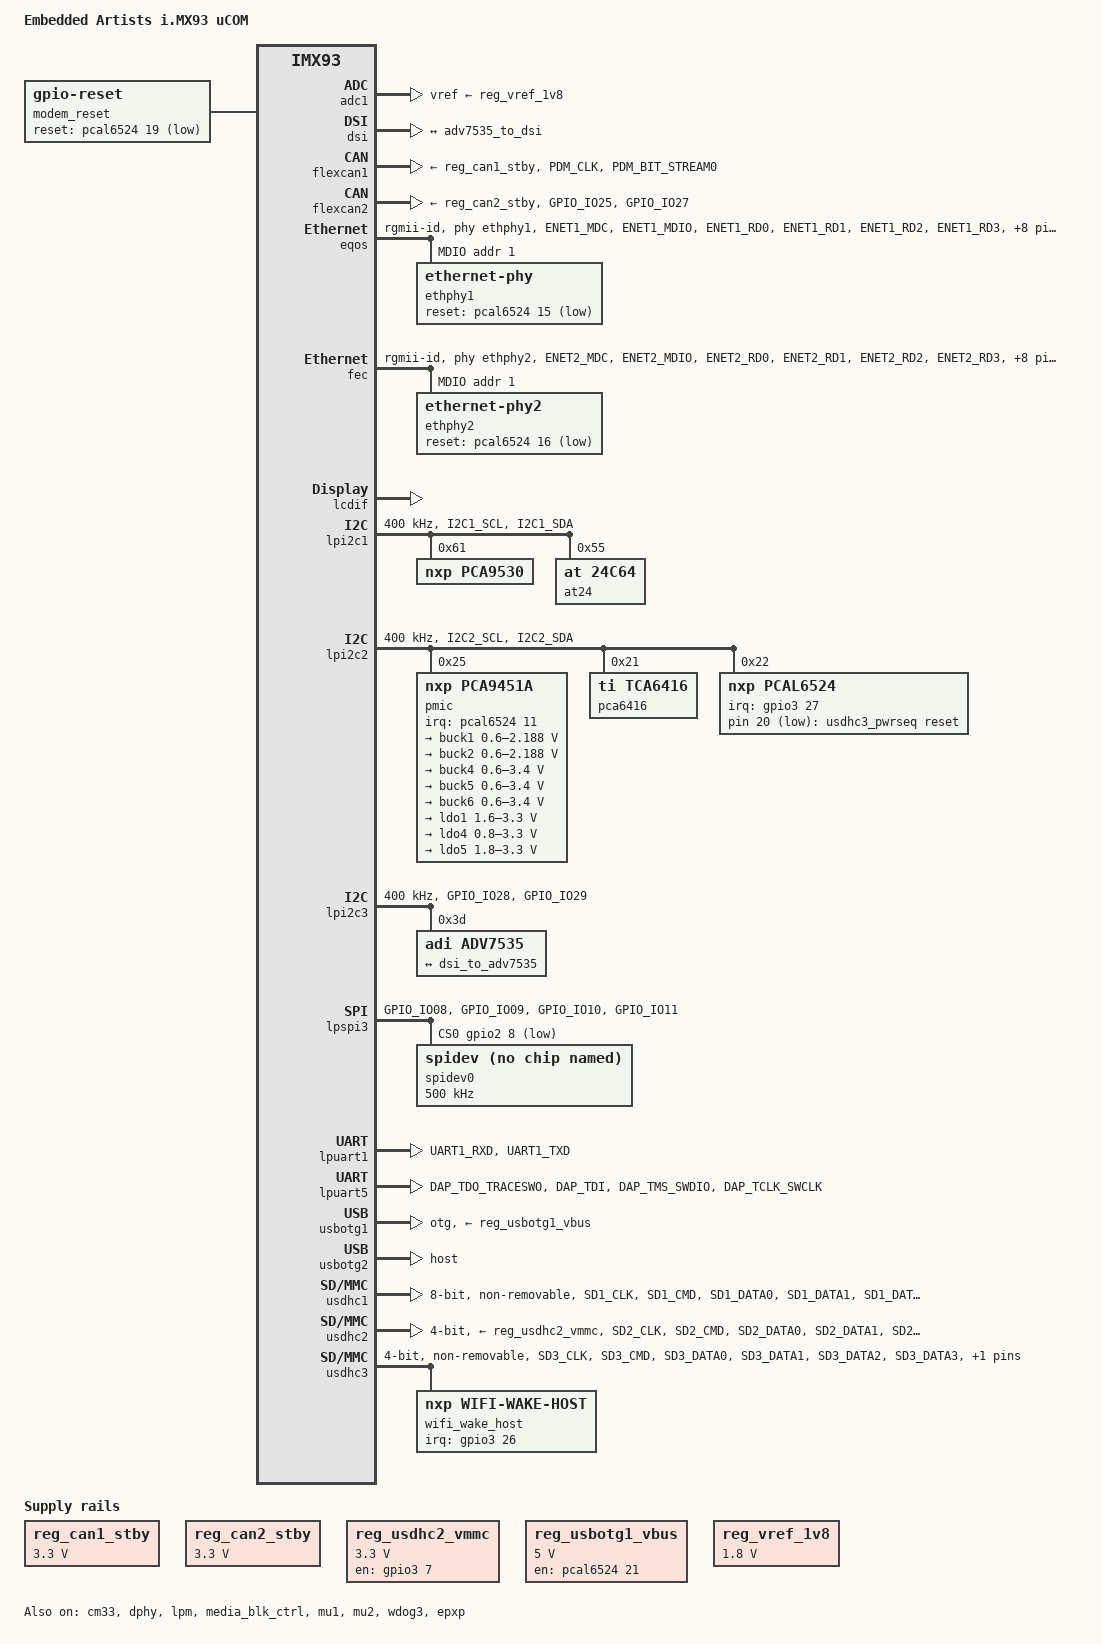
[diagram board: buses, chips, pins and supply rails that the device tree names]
// SPDX-License-Identifier: (GPL-2.0+ OR MIT)
/*
 * Copyright 2022 NXP
 */

/dts-v1/;

#include <dt-bindings/leds/leds-pca9532.h>
#include <dt-bindings/usb/pd.h>
#include "imx93.dtsi"

&ele_fw2 {
	memory-region = <&ele_reserved>;
};


/ {
	model = "Embedded Artists i.MX93 uCOM";
	compatible = "fsl,imx93ea-ucom", "fsl,imx93";

	chosen {
		stdout-path = &lpuart1;
	};

	reserved-memory {
		#address-cells = <2>;
		#size-cells = <2>;
		ranges;

		linux,cma {
			compatible = "shared-dma-pool";
			reusable;
			alloc-ranges = <0 0x80000000 0 0x40000000>;
			size = <0 0x10000000>;
			linux,cma-default;
		};

		ethosu_mem: ethosu_region@88000000 {
			compatible = "shared-dma-pool";
			reusable;
			reg = <0x0 0x88000000 0x0 0x8000000>;
		};

		vdev0vring0: vdev0vring0@87ee0000 {
			reg = <0 0x87ee0000 0 0x8000>;
			no-map;
		};

		vdev0vring1: vdev0vring1@87ee8000 {
			reg = <0 0x87ee8000 0 0x8000>;
			no-map;
		};

		vdev1vring0: vdev1vring0@87ef0000 {
			reg = <0 0x87ef0000 0 0x8000>;
			no-map;
		};

		vdev1vring1: vdev1vring1@87ef8000 {
			reg = <0 0x87ef8000 0 0x8000>;
			no-map;
		};

		rsc_table: rsc-table@2021e000 {
			reg = <0 0x2021e000 0 0x1000>;
			no-map;
		};

		vdevbuffer: vdevbuffer@87f00000 {
			compatible = "shared-dma-pool";
			reg = <0 0x87f00000 0 0x100000>;
			no-map;
		};

		ele_reserved: ele-reserved@a4120000 {
			compatible = "shared-dma-pool";
			reg = <0 0xa4120000 0 0x100000>;
			no-map;
		};
	};

	ethosu {
		compatible = "arm,ethosu";
		fsl,cm33-proc = <&cm33>;
		memory-region = <&ethosu_mem>;
		power-domains = <&mlmix>;
	};

	modem_reset: modem-reset {
		compatible = "gpio-reset";
		reset-gpios = <&pcal6524 19 GPIO_ACTIVE_LOW>;
		initially-in-reset;
		reset-delay-us = <2000>;
		reset-post-delay-ms = <100>;
		#reset-cells = <0>;
	};

	reg_can1_stby: regulator-can1-stby {
		compatible = "regulator-fixed";
		regulator-name = "can1-stby";
		regulator-min-microvolt = <3300000>;
		regulator-max-microvolt = <3300000>;
		enable-active-low;
	};

	reg_can2_stby: regulator-can2-stby {
		compatible = "regulator-fixed";
		regulator-name = "can2-stby";
		regulator-min-microvolt = <3300000>;
		regulator-max-microvolt = <3300000>;
		enable-active-low;
	};

	reg_usdhc2_vmmc: regulator-usdhc2 {
		compatible = "regulator-fixed";
		pinctrl-names = "default";
		pinctrl-0 = <&pinctrl_reg_usdhc2_vmmc>;
		regulator-name = "VSD_3V3";
		regulator-min-microvolt = <3300000>;
		regulator-max-microvolt = <3300000>;
		gpio = <&gpio3 7 GPIO_ACTIVE_HIGH>;
		off-on-delay-us = <12000>;
		enable-active-high;
	};

	reg_usbotg1_vbus: regulator-usbotg1 {
		compatible = "regulator-fixed";
		regulator-name = "usbotg_vbus";
		regulator-min-microvolt = <5000000>;
		regulator-max-microvolt = <5000000>;
		gpio = <&pcal6524 21 GPIO_ACTIVE_HIGH>;
		off-on-delay = <20000>;
		enable-active-high;
	};

	reg_vref_1v8: regulator-adc-vref {
		compatible = "regulator-fixed";
		regulator-name = "vref_1v8";
		regulator-min-microvolt = <1800000>;
		regulator-max-microvolt = <1800000>;
	};

	usdhc3_pwrseq: usdhc3_pwrseq {
		compatible = "mmc-pwrseq-simple";
		reset-gpios = <&pcal6524 20 GPIO_ACTIVE_LOW>;
	};

};

	
&adc1 {
	vref-supply = <&reg_vref_1v8>;
	status = "okay";
};

&cm33 {
    mbox-names = "tx", "rx", "rxdb";
    mboxes = <&mu1 0 1>,
        <&mu1 1 1>,
        <&mu1 3 1>;
        memory-region = <&vdevbuffer>, <&vdev0vring0>, <&vdev0vring1>,
            <&vdev1vring0>, <&vdev1vring1>, <&rsc_table>;
        fsl,startup-delay-ms = <500>;
    status = "okay";
};

&dphy {
	status = "okay";
};

&dsi {
	status = "okay";

	ports {
		port@1 {
			reg = <1>;

			dsi_to_adv7535: endpoint {
				remote-endpoint = <&adv7535_to_dsi>;
			};
		};
	};
};

&flexcan1 {
	pinctrl-names = "default";
	pinctrl-0 = <&pinctrl_flexcan1>;
	xceiver-supply = <&reg_can1_stby>;
	status = "okay";
};

&flexcan2 {
	pinctrl-names = "default";
	pinctrl-0 = <&pinctrl_flexcan2>;
	xceiver-supply = <&reg_can2_stby>;
	status = "okay";
};

/* Using connector J25 on uCOM Carrier Board */
&eqos {
	pinctrl-names = "default", "sleep";
	pinctrl-0 = <&pinctrl_eqos>;
	pinctrl-1 = <&pinctrl_eqos_sleep>;
	phy-mode = "rgmii-id";
	phy-handle = <&ethphy1>;
	status = "okay";

	mdio {
		compatible = "snps,dwmac-mdio";
		#address-cells = <1>;
		#size-cells = <0>;
		clock-frequency = <5000000>;

		ethphy1: ethernet-phy@1 {
			reg = <1>;
			eee-broken-1000t;           
			reset-gpios = <&pcal6524 15 GPIO_ACTIVE_LOW>;
			reset-assert-us = <10000>;
			reset-deassert-us = <80000>;
			realtek,clkout-disable;
		};
	};
};

/* Using 1Gbit adapter in connector E on uCOM Carrier Board */
&fec {
	pinctrl-names = "default", "sleep";
	pinctrl-0 = <&pinctrl_fec>;
	pinctrl-1 = <&pinctrl_fec_sleep>;
	phy-mode = "rgmii-id";
	phy-handle = <&ethphy2>;
	fsl,magic-packet;
	status = "okay";

	mdio {
		#address-cells = <1>;
		#size-cells = <0>;
		clock-frequency = <5000000>;

		ethphy2: ethernet-phy2@1 {
			reg = <1>;
			eee-broken-1000t;
			reset-gpios = <&pcal6524 16 GPIO_ACTIVE_LOW>;
			reset-assert-us = <10000>;
			reset-deassert-us = <80000>;
			realtek,clkout-disable;
		};
	};
};

&lcdif {
	status = "okay";
	assigned-clock-rates = <445333333>, <148444444>, <400000000>, <133333333>;
};

&lpm {
	soc-supply = <&buck1>;
	status = "okay";
};

&lpi2c1 {
	#address-cells = <1>;
	#size-cells = <0>;
	clock-frequency = <400000>;
	pinctrl-names = "default", "sleep";
	pinctrl-0 = <&pinctrl_lpi2c1>;
	pinctrl-1 = <&pinctrl_lpi2c1>;
	status = "okay";

	pca9530: pca9530@61 {
		compatible = "nxp,pca9530";
		reg = <0x61>;

		led0 {
			label = "PCA_PWM0";
			type = <PCA9532_TYPE_LED>;
		};

		led1 {
			label = "PCA_PWM1_LED17";
			type = <PCA9532_TYPE_LED>;
		};
	};

	at24@55 {
		compatible = "at,24c64";
		pagesize = <32>;
		reg = <0x55>;
	};
};

&lpi2c2 {
	#address-cells = <1>;
	#size-cells = <0>;
	clock-frequency = <400000>;
	pinctrl-names = "default", "sleep";
	pinctrl-0 = <&pinctrl_lpi2c2>;
	pinctrl-1 = <&pinctrl_lpi2c2>;
	status = "okay";

	pmic@25 {
		compatible = "nxp,pca9451a";
		reg = <0x25>;
		interrupt-parent = <&pcal6524>;
		interrupts = <11 IRQ_TYPE_LEVEL_LOW>;

		regulators {
			buck1: BUCK1 {
				regulator-name = "BUCK1";
				regulator-min-microvolt = <600000>;
				regulator-max-microvolt = <2187500>;
				regulator-boot-on;
				regulator-always-on;
				regulator-ramp-delay = <3125>;
			};

			buck2: BUCK2 {
				regulator-name = "BUCK2";
				regulator-min-microvolt = <600000>;
				regulator-max-microvolt = <2187500>;
				regulator-boot-on;
				regulator-always-on;
				regulator-ramp-delay = <3125>;
			};

			buck4: BUCK4{
				regulator-name = "BUCK4";
				regulator-min-microvolt = <600000>;
				regulator-max-microvolt = <3400000>;
				regulator-boot-on;
				regulator-always-on;
			};

			buck5: BUCK5{
				regulator-name = "BUCK5";
				regulator-min-microvolt = <600000>;
				regulator-max-microvolt = <3400000>;
				regulator-boot-on;
				regulator-always-on;
			};

			buck6: BUCK6 {
				regulator-name = "BUCK6";
				regulator-min-microvolt = <600000>;
				regulator-max-microvolt = <3400000>;
				regulator-boot-on;
				regulator-always-on;
			};

			ldo1: LDO1 {
				regulator-name = "LDO1";
				regulator-min-microvolt = <1600000>;
				regulator-max-microvolt = <3300000>;
				regulator-boot-on;
				regulator-always-on;
			};

			ldo4: LDO4 {
				regulator-name = "LDO4";
				regulator-min-microvolt = <800000>;
				regulator-max-microvolt = <3300000>;
				regulator-boot-on;
				regulator-always-on;
			};

			ldo5: LDO5 {
				regulator-name = "LDO5";
				regulator-min-microvolt = <1800000>;
				regulator-max-microvolt = <3300000>;
				regulator-boot-on;
				regulator-always-on;
			};
		};
	};

	pca6416: gpio@21 {
		compatible = "ti,tca6416";
		reg = <0x21>;
		gpio-controller;
		#gpio-cells = <2>;
		gpio-line-names = "BT_REG_ON", "WL_REG_ON", "DISP_MIPI_RST",
			"BT_DEV_WAKE", "USER_RGB_LED_RED", "USER_RGB_LED_BLUE",
			"USER_RGB_LED_GREEN", "PCIE_PERST_L", "M2_B_DISABLE",
			"M2_B_PWR_OFF", "LCD_BL_PWR", "M2_SDIO_RST",
			"SE050_ENA", "USER_BTN", "USER_LED_RED", "USER_LED_GREEN";
	};

	pcal6524: gpio@22 {
		compatible = "nxp,pcal6524";
		pinctrl-names = "default";
		pinctrl-0 = <&pinctrl_pcal6524>;
		reg = <0x22>;
		gpio-controller;
		#gpio-cells = <2>;
		interrupt-controller;
		#interrupt-cells = <2>;
		interrupt-parent = <&gpio3>;
		interrupts = <27 IRQ_TYPE_LEVEL_LOW>;
	};
};

&lpi2c3 {
	#address-cells = <1>;
	#size-cells = <0>;
	clock-frequency = <400000>;
	pinctrl-names = "default", "sleep";
	pinctrl-0 = <&pinctrl_lpi2c3>;
	pinctrl-1 = <&pinctrl_lpi2c3>;
	status = "okay";

	adv7535: hdmi@3d {
		compatible = "adi,adv7535";
		reg = <0x3d>;
		adi,addr-cec = <0x3b>;
		adi,dsi-lanes = <4>;
		status = "okay";

		port {
			adv7535_to_dsi: endpoint {
				remote-endpoint = <&dsi_to_adv7535>;
			};
		};
	};
};

&lpspi3 {
	fsl,spi-num-chipselects = <1>;
	pinctrl-names = "default", "sleep";
	pinctrl-0 = <&pinctrl_lpspi3>;
	pinctrl-1 = <&pinctrl_lpspi3>;
	cs-gpios = <&gpio2 8 GPIO_ACTIVE_LOW>;
	status = "okay";

	spidev0: spi@0 {
		reg = <0>;
		compatible = "rohm,dh2228fv";
		spi-max-frequency = <500000>;
	};
};

&lpuart1 { /* console */
	pinctrl-names = "default";
	pinctrl-0 = <&pinctrl_uart1>;
	status = "okay";
};

&lpuart5 {
	/* BT */
	pinctrl-names = "default";
	pinctrl-0 = <&pinctrl_uart5>;
	status = "okay";

	/delete-property/ dmas;
	/delete-property/ dma-names;

	resets = <&modem_reset>;
	fsl,uart-has-rtscts;
};

&media_blk_ctrl {
	status = "okay";
};

&mu1 {
	status = "okay";
};

&mu2 {
	status = "okay";
};

&usbotg1 {
	dr_mode = "otg";
	disable-over-current;
	samsung,picophy-pre-emp-curr-control = <3>;
	samsung,picophy-dc-vol-level-adjust = <7>;
	status = "okay";

	vbus-supply = <&reg_usbotg1_vbus>;
};

&usbotg2 {
	dr_mode = "host";
	samsung,picophy-pre-emp-curr-control = <3>;
	samsung,picophy-dc-vol-level-adjust = <7>;
	status = "okay";
};

/* eMMC */
&usdhc1 {
	pinctrl-names = "default", "state_100mhz", "state_200mhz";
	pinctrl-0 = <&pinctrl_usdhc1>;
	pinctrl-1 = <&pinctrl_usdhc1>;
	pinctrl-2 = <&pinctrl_usdhc1>;
	bus-width = <8>;
	non-removable;
	status = "okay";
};

/* uSD connector on carrier board */
&usdhc2 {
	pinctrl-names = "default", "state_100mhz", "state_200mhz";
	pinctrl-0 = <&pinctrl_usdhc2>, <&pinctrl_usdhc2_gpio>;
	pinctrl-1 = <&pinctrl_usdhc2>, <&pinctrl_usdhc2_gpio>;
	pinctrl-2 = <&pinctrl_usdhc2>, <&pinctrl_usdhc2_gpio>;
	cd-gpios = <&gpio3 00 GPIO_ACTIVE_LOW>;
	vmmc-supply = <&reg_usdhc2_vmmc>;
	bus-width = <4>;
	status = "okay";
	no-sdio;
	no-mmc;
};

&usdhc3 {
	pinctrl-names = "default", "state_100mhz", "state_200mhz";
	pinctrl-0 = <&pinctrl_usdhc3>, <&pinctrl_usdhc3_wlan>;
	pinctrl-1 = <&pinctrl_usdhc3>, <&pinctrl_usdhc3_wlan>;
	pinctrl-2 = <&pinctrl_usdhc3>, <&pinctrl_usdhc3_wlan>;
	mmc-pwrseq = <&usdhc3_pwrseq>;
	/*pinctrl-assert-gpios = <&pcal6524 13 GPIO_ACTIVE_HIGH>;*/
	bus-width = <4>;
	keep-power-in-suspend;
	non-removable;
	wakeup-source;
	fsl,sdio-async-interrupt-enabled;
	status = "okay";

	wifi_wake_host {
		compatible = "nxp,wifi-wake-host";
		interrupt-parent = <&gpio3>;
		interrupts = <26 IRQ_TYPE_LEVEL_LOW>;
		interrupt-names = "host-wake";
	};
};

&wdog3 {
	status = "okay";
};

&iomuxc {
	pinctrl_lpi2c1: lpi2c1grp {
		fsl,pins = <
			MX93_PAD_I2C1_SCL__LPI2C1_SCL			0x40000b9e
			MX93_PAD_I2C1_SDA__LPI2C1_SDA			0x40000b9e
		>;
	};

	pinctrl_lpi2c2: lpi2c2grp {
		fsl,pins = <
			MX93_PAD_I2C2_SCL__LPI2C2_SCL			0x40000b9e
			MX93_PAD_I2C2_SDA__LPI2C2_SDA			0x40000b9e
		>;
	};

	pinctrl_lpi2c3: lpi2c3grp {
		fsl,pins = <
			MX93_PAD_GPIO_IO28__LPI2C3_SDA			0x40000b9e
			MX93_PAD_GPIO_IO29__LPI2C3_SCL			0x40000b9e
		>;
	};

	pinctrl_lpspi3: lpspi3grp {
		fsl,pins = <
			MX93_PAD_GPIO_IO08__GPIO2_IO08		0x3fe
			MX93_PAD_GPIO_IO09__LPSPI3_SIN		0x3fe
			MX93_PAD_GPIO_IO10__LPSPI3_SOUT		0x3fe
			MX93_PAD_GPIO_IO11__LPSPI3_SCK		0x3fe
		>;
	};

	pinctrl_pcal6524: pcal6524grp {
		fsl,pins = <
			MX93_PAD_CCM_CLKO2__GPIO3_IO27			0x31e     /* PullUp enabled */
		>;
	};

	pinctrl_flexcan1: flexcan1grp {
		fsl,pins = <
			MX93_PAD_PDM_CLK__CAN1_TX		0x139e
			MX93_PAD_PDM_BIT_STREAM0__CAN1_RX	0x139e
		>;
	};

	pinctrl_flexcan2: flexcan2grp {
		fsl,pins = <
			MX93_PAD_GPIO_IO25__CAN2_TX	0x139e
			MX93_PAD_GPIO_IO27__CAN2_RX	0x139e
		>;
	};

	pinctrl_eqos: eqosgrp {
		fsl,pins = <
			MX93_PAD_ENET1_MDC__ENET_QOS_MDC			0x48e  /* 0x48e = PD,Slightly Slow Slew Rate,DSE x3 */
			MX93_PAD_ENET1_MDIO__ENET_QOS_MDIO			0x48e
			MX93_PAD_ENET1_RD0__ENET_QOS_RGMII_RD0			0x48e
			MX93_PAD_ENET1_RD1__ENET_QOS_RGMII_RD1			0x48e
			MX93_PAD_ENET1_RD2__ENET_QOS_RGMII_RD2			0x48e
			MX93_PAD_ENET1_RD3__ENET_QOS_RGMII_RD3			0x48e
			MX93_PAD_ENET1_RXC__CCM_ENET_QOS_CLOCK_GENERATE_RX_CLK	0x49e  /* 0x49e = PD,Slightly Slow Slew Rate,DSE x4 */
			MX93_PAD_ENET1_RX_CTL__ENET_QOS_RGMII_RX_CTL		0x48e
			MX93_PAD_ENET1_TD0__ENET_QOS_RGMII_TD0			0x48e
			MX93_PAD_ENET1_TD1__ENET_QOS_RGMII_TD1			0x48e
			MX93_PAD_ENET1_TD2__ENET_QOS_RGMII_TD2			0x48e
			MX93_PAD_ENET1_TD3__ENET_QOS_RGMII_TD3			0x48e
			MX93_PAD_ENET1_TXC__CCM_ENET_QOS_CLOCK_GENERATE_TX_CLK	0x49e
			MX93_PAD_ENET1_TX_CTL__ENET_QOS_RGMII_TX_CTL		0x48e
		>;
	};

	pinctrl_eqos_sleep: eqosgrpsleep {
		fsl,pins = <
			MX93_PAD_ENET1_MDC__GPIO4_IO00				0x31e  /* 0x31e = PU,Slightly Fast Slew Rate,DSE x4 */
			MX93_PAD_ENET1_MDIO__GPIO4_IO01				0x31e
			MX93_PAD_ENET1_RD0__GPIO4_IO10                          0x31e
			MX93_PAD_ENET1_RD1__GPIO4_IO11				0x31e
			MX93_PAD_ENET1_RD2__GPIO4_IO12				0x31e
			MX93_PAD_ENET1_RD3__GPIO4_IO13				0x31e
			MX93_PAD_ENET1_RXC__GPIO4_IO09                          0x31e
			MX93_PAD_ENET1_RX_CTL__GPIO4_IO08			0x31e
			MX93_PAD_ENET1_TD0__GPIO4_IO05                          0x31e
			MX93_PAD_ENET1_TD1__GPIO4_IO04                          0x31e
			MX93_PAD_ENET1_TD2__GPIO4_IO03				0x31e
			MX93_PAD_ENET1_TD3__GPIO4_IO02				0x31e
			MX93_PAD_ENET1_TXC__GPIO4_IO07                          0x31e
			MX93_PAD_ENET1_TX_CTL__GPIO4_IO06                       0x31e
		>;
	};

	pinctrl_fec: fecgrp {
		fsl,pins = <
			MX93_PAD_ENET2_MDC__ENET1_MDC			0x48e  /* 0x48e = PD,Slightly Slow Slew Rate,DSE x3 */
			MX93_PAD_ENET2_MDIO__ENET1_MDIO			0x48e
			MX93_PAD_ENET2_RD0__ENET1_RGMII_RD0		0x48e
			MX93_PAD_ENET2_RD1__ENET1_RGMII_RD1		0x48e
			MX93_PAD_ENET2_RD2__ENET1_RGMII_RD2		0x48e
			MX93_PAD_ENET2_RD3__ENET1_RGMII_RD3		0x48e
			MX93_PAD_ENET2_RXC__ENET1_RGMII_RXC		0x49e  /* 0x49e = PD,Slightly Slow Slew Rate,DSE x4 */
			MX93_PAD_ENET2_RX_CTL__ENET1_RGMII_RX_CTL	0x48e
			MX93_PAD_ENET2_TD0__ENET1_RGMII_TD0		0x48e
			MX93_PAD_ENET2_TD1__ENET1_RGMII_TD1		0x48e
			MX93_PAD_ENET2_TD2__ENET1_RGMII_TD2		0x48e
			MX93_PAD_ENET2_TD3__ENET1_RGMII_TD3		0x48e
			MX93_PAD_ENET2_TXC__ENET1_RGMII_TXC		0x49e
			MX93_PAD_ENET2_TX_CTL__ENET1_RGMII_TX_CTL	0x48e
		>;
	};

	pinctrl_fec_sleep: fecsleepgrp {
		fsl,pins = <
			MX93_PAD_ENET2_MDC__GPIO4_IO14			0x51e  /* 0x51e = PD,Slightly Fast Slew Rate,DSE x4 */
			MX93_PAD_ENET2_MDIO__GPIO4_IO15			0x51e
			MX93_PAD_ENET2_RD0__GPIO4_IO24			0x51e
			MX93_PAD_ENET2_RD1__GPIO4_IO25			0x51e
			MX93_PAD_ENET2_RD2__GPIO4_IO26			0x51e
			MX93_PAD_ENET2_RD3__GPIO4_IO27			0x51e
			MX93_PAD_ENET2_RXC__GPIO4_IO23                  0x51e
			MX93_PAD_ENET2_RX_CTL__GPIO4_IO22		0x51e
			MX93_PAD_ENET2_TD0__GPIO4_IO19			0x51e
			MX93_PAD_ENET2_TD1__GPIO4_IO18			0x51e
			MX93_PAD_ENET2_TD2__GPIO4_IO17			0x51e
			MX93_PAD_ENET2_TD3__GPIO4_IO16			0x51e
			MX93_PAD_ENET2_TXC__GPIO4_IO21                  0x51e
			MX93_PAD_ENET2_TX_CTL__GPIO4_IO20               0x51e
		>;
	};

	pinctrl_uart1: uart1grp {
		fsl,pins = <
			MX93_PAD_UART1_RXD__LPUART1_RX			0x31e
			MX93_PAD_UART1_TXD__LPUART1_TX			0x31e
		>;
	};

	pinctrl_uart5: uart5grp {
		fsl,pins = <
			MX93_PAD_DAP_TDO_TRACESWO__LPUART5_TX	0x31e
			MX93_PAD_DAP_TDI__LPUART5_RX		0x31e
			MX93_PAD_DAP_TMS_SWDIO__LPUART5_RTS_B	0x31e
			MX93_PAD_DAP_TCLK_SWCLK__LPUART5_CTS_B	0x31e
		>;
	};

	pinctrl_usdhc1: usdhc1grp {
		fsl,pins = <
			MX93_PAD_SD1_CLK__USDHC1_CLK		0x15be
			MX93_PAD_SD1_CMD__USDHC1_CMD		0x13fe
			MX93_PAD_SD1_DATA0__USDHC1_DATA0	0x13fe
			MX93_PAD_SD1_DATA1__USDHC1_DATA1	0x13fe
			MX93_PAD_SD1_DATA2__USDHC1_DATA2	0x13fe
			MX93_PAD_SD1_DATA3__USDHC1_DATA3	0x13fe
			MX93_PAD_SD1_DATA4__USDHC1_DATA4	0x13fe
			MX93_PAD_SD1_DATA5__USDHC1_DATA5	0x13fe
			MX93_PAD_SD1_DATA6__USDHC1_DATA6	0x13fe
			MX93_PAD_SD1_DATA7__USDHC1_DATA7	0x13fe
			MX93_PAD_SD1_STROBE__USDHC1_STROBE	0x15fe
		>;
	};

	pinctrl_reg_usdhc2_vmmc: regusdhc2vmmcgrp {
		fsl,pins = <
			MX93_PAD_SD2_RESET_B__GPIO3_IO07	0x31e
		>;
	};

	pinctrl_usdhc2_gpio: usdhc2gpiogrp {
		fsl,pins = <
			MX93_PAD_SD2_CD_B__GPIO3_IO00		0x31e
		>;
	};

	pinctrl_usdhc2: usdhc2grp {
		fsl,pins = <
			MX93_PAD_SD2_CLK__USDHC2_CLK		0x15fe
			MX93_PAD_SD2_CMD__USDHC2_CMD		0x13fe
			MX93_PAD_SD2_DATA0__USDHC2_DATA0	0x13fe
			MX93_PAD_SD2_DATA1__USDHC2_DATA1	0x13fe
			MX93_PAD_SD2_DATA2__USDHC2_DATA2	0x13fe
			MX93_PAD_SD2_DATA3__USDHC2_DATA3	0x13fe
			MX93_PAD_SD2_VSELECT__USDHC2_VSELECT	0x51e
		>;
	};

	pinctrl_usdhc3: usdhc3grp {
		fsl,pins = <
			MX93_PAD_SD3_CLK__USDHC3_CLK		0x15fe
			MX93_PAD_SD3_CMD__USDHC3_CMD		0x13fe
			MX93_PAD_SD3_DATA0__USDHC3_DATA0	0x13fe
			MX93_PAD_SD3_DATA1__USDHC3_DATA1	0x13fe
			MX93_PAD_SD3_DATA2__USDHC3_DATA2	0x13fe
			MX93_PAD_SD3_DATA3__USDHC3_DATA3	0x13fe
		>;
	};

	pinctrl_usdhc3_wlan: usdhc3wlangrp {
		fsl,pins = <
			MX93_PAD_CCM_CLKO1__GPIO3_IO26		0x31e  /* M.2 pin 21 */
		>;
	};

	pinctrl_tpm4: tpm4grp {
		fsl,pins = <
			MX93_PAD_GPIO_IO05__TPM4_CH0	0x139e
			MX93_PAD_GPIO_IO21__TPM4_CH1	0x139e  /* Shared with pinctrl_flexcan2 */
			MX93_PAD_GPIO_IO13__TPM4_CH2	0x139e
			MX93_PAD_GPIO_IO25__TPM4_CH3	0x139e
		>;
	};
};

&epxp {
	status = "okay";
};

&tpm4 { /* PWM */
	pinctrl-names = "default";
	pinctrl-0 = <&pinctrl_tpm4>;
	status = "disabled";
};

